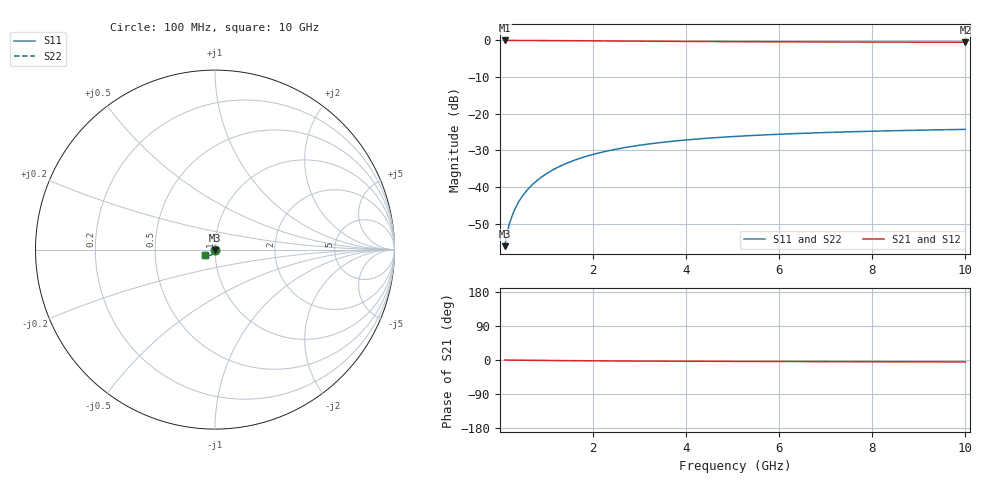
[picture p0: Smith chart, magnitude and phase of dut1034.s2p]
! Touchstone file exported from HFSS 2024.1.0
!  File:  C:/UserFiles/LocalFiles/RDL_TSV_Batchsim/temp_TSV1_1034_1780060968.aedt
!  Generated:  09:30:19 PM May 29, 2026
!  Design:  TSV1
!  Project:  temp_TSV1_1034_1780060968
!  Setup:  Setup1
!  Solution:  Sweep
! Variables:
!  dtsv = 12.77um
!  hbump = 3um
!  htsv = 76.58um
!  lrdl = 252.1521522um
!  p = 40
!  p1 = 41.26um
!  t = 500um
!  trdl = 3um
!  wrdl = 24.89489489um
# GHz S MA R 50.000000
! Terminal data exported
! Port[1] = TSV22_T1
! Port[2] = TSV22_T2
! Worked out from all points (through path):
!   100 points, 100 MHz to 10 GHz, reference 50 ohm
!   highest |S21| = 0.00 dB at 100 MHz (marker M1); lowest = -0.5 dB at 10 GHz (marker M2)
!   lowest |S11| = -56.1 dB at 100 MHz (marker M3), VSWR 1.00, Z = 50 - j0.157 ohm
!   |S11| at or under -10 dB: start of sweep to end of sweep
!   |S22| runs from -56.1 to -24.2 dB; largest |S21 - S12| = 4e-15
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0.1  0.001569 -88.1  0.9999 -0.1  0.9999 -0.1  0.001569 -88.1
! Gamma 0 0 0 0
! Port Impedance 50 0 50 0
0.2  0.003148 -91.0  0.9997 -0.3  0.9997 -0.3  0.003148 -91.0
0.3  0.004724 -93.0  0.9995 -0.4  0.9995 -0.4  0.004724 -93.0
0.4  0.00629 -94.7  0.9993 -0.5  0.9993 -0.5  0.00629 -94.7
0.5  0.007841 -96.3  0.9989 -0.6  0.9989 -0.6  0.007841 -96.3
0.6  0.009376 -97.9  0.9985 -0.7  0.9985 -0.7  0.009376 -97.9
0.7  0.01089 -99.4  0.998 -0.9  0.998 -0.9  0.01089 -99.4
0.8  0.01238 -100.8  0.9974 -1.0  0.9974 -1.0  0.01238 -100.8
0.9  0.01385 -102.3  0.9968 -1.1  0.9968 -1.1  0.01385 -102.3
1.1  0.0167 -105.0  0.9954 -1.3  0.9954 -1.3  0.0167 -105.0
1.4  0.02075 -108.9  0.993 -1.6  0.993 -1.6  0.02075 -108.9
1.6  0.02329 -111.4  0.9913 -1.8  0.9913 -1.8  0.02329 -111.4
1.8  0.02568 -113.7  0.9894 -2.0  0.9894 -2.0  0.02568 -113.7
2.1  0.02902 -117.0  0.9867 -2.2  0.9867 -2.2  0.02902 -117.0
2.5  0.033 -121.0  0.983 -2.5  0.983 -2.5  0.033 -121.0
2.9  0.03648 -124.6  0.9794 -2.7  0.9794 -2.7  0.03648 -124.6
3.4  0.04023 -128.6  0.9751 -3.0  0.9751 -3.0  0.04023 -128.6
4.2  0.0451 -133.8  0.9691 -3.3  0.9691 -3.3  0.0451 -133.8
5.1  0.04934 -138.6  0.9633 -3.7  0.9633 -3.7  0.04934 -138.6
6.7  0.05476 -144.9  0.9555 -4.2  0.9555 -4.2  0.05476 -144.9
8.4  0.0587 -149.7  0.9497 -4.6  0.9497 -4.6  0.0587 -149.7
10  0.06135 -153.2  0.9457 -5.1  0.9457 -5.1  0.06135 -153.2
